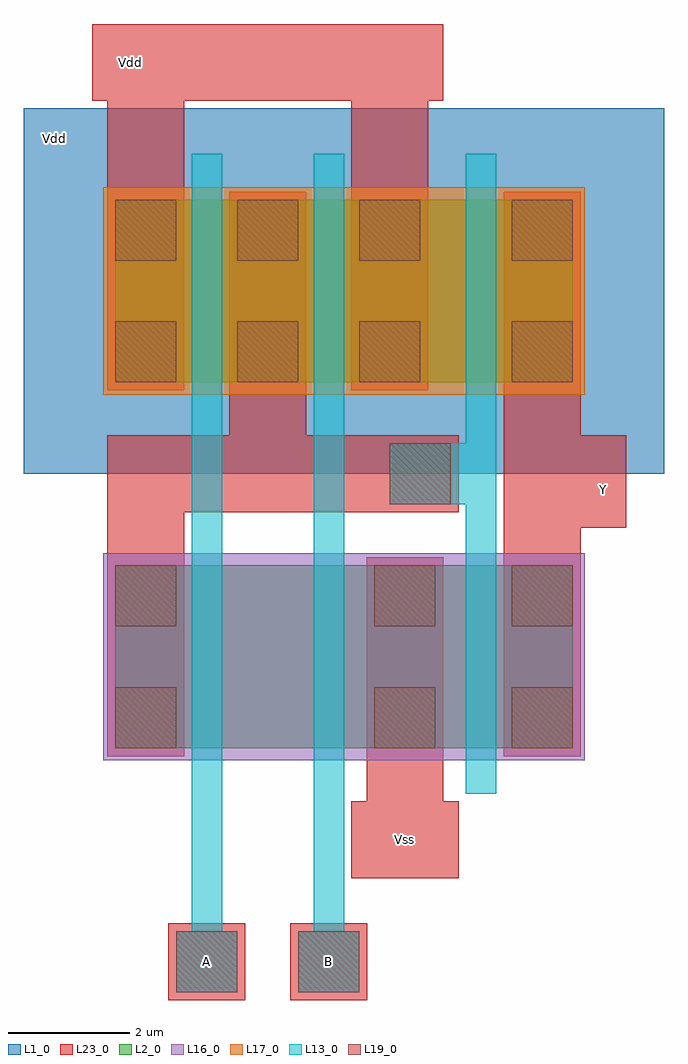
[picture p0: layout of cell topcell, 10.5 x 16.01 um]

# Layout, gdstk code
import gdstk
lib = gdstk.Library(unit=1e-6, precision=1e-09)
def R(c, l, rs):  # rectangles x0, y0, x1, y1
    for r in rs: c.add(gdstk.rectangle(r[:2], r[2:], *l))
def A(c, l, x, y, w, h, nx, ny, dx, dy):  # array of equal rectangles
    R(c, l, [(x+i*dx, y+j*dy, x+i*dx+w, y+j*dy+h) for i in range(nx) for j in range(ny)])
L1_0 = (1, 0)
L2_0 = (2, 0)
L13_0 = (13, 0)
L16_0 = (16, 0)
L17_0 = (17, 0)
L19_0 = (19, 0)
L23_0 = (23, 0)

topcell = lib.new_cell('topcell')
R(topcell, L1_0, [(-198,321.75,-187.5,327.75)])
R(topcell, L2_0, [(-196.5,317.25,-195.25,320.25), (-195.25,317.25,-194.75,320.25), (-194.75,317.25,-193.25,320.25), (-193.25,317.25,-192.75,320.25), (-192.75,317.25,-190.75,320.25), (-190.75,317.25,-190.25,320.25), (-190.25,317.25,-189,320.25), (-196.5,323.25,-195.25,326.25), (-195.25,323.25,-194.75,326.25), (-194.75,323.25,-193.25,326.25), (-193.25,323.25,-192.75,326.25), (-192.75,323.25,-190.75,326.25), (-190.75,323.25,-190.25,326.25), (-190.25,323.25,-189,326.25)])
R(topcell, L13_0, [(-195.5,313.25,-194.5,314.25), (-193.5,313.25,-192.5,314.25), (-195.25,314.25,-194.75,327), (-193.25,314.25,-192.75,327), (-190.75,316.5,-190.25,327), (-192,321.25,-190.75,322.25)])
R(topcell, L16_0, [(-196.7,317.05,-195.05,320.45), (-195.45,317.05,-194.55,320.45), (-194.95,317.05,-193.05,320.45), (-193.45,317.05,-192.55,320.45), (-192.95,317.05,-190.55,320.45), (-190.95,317.05,-190.05,320.45), (-190.45,317.05,-188.8,320.45)])
R(topcell, L17_0, [(-196.7,323.05,-195.05,326.45), (-195.45,323.05,-194.55,326.45), (-194.95,323.05,-193.05,326.45), (-193.45,323.05,-192.55,326.45), (-192.95,323.05,-190.55,326.45), (-190.95,323.05,-190.05,326.45), (-190.45,323.05,-188.8,326.45)])
A(topcell, L19_0, -196.5, 323.25, 1, 1, 3, 2, 2, 2)
R(topcell, L19_0, [(-195.5,313.25,-194.5,314.25), (-193.5,313.25,-192.5,314.25), (-196.5,317.25,-195.5,318.25), (-192.25,317.25,-191.25,318.25), (-190,317.25,-189,318.25), (-196.5,319.25,-195.5,320.25), (-192.25,319.25,-191.25,320.25), (-190,319.25,-189,320.25), (-192,321.25,-191,322.25), (-190,323.25,-189,324.25), (-190,325.25,-189,326.25)])
R(topcell, L23_0, [(-195.63,313.12,-194.37,314.38), (-193.63,313.12,-192.37,314.38), (-192.63,315.12,-190.87,316.38), (-192.38,316.12,-191.12,320.38), (-196.63,317.12,-195.37,321.38), (-190.13,317.12,-188.87,326.38), (-189.13,320.87,-188.12,322.38), (-196.63,321.12,-190.87,322.38), (-194.63,322.12,-193.37,326.38), (-196.63,323.12,-195.37,328.13), (-192.63,323.12,-191.37,328.13), (-196.88,327.87,-191.12,329.13)])
topcell.add(gdstk.Label('A', (-195,313.75), layer=17, texttype=0))
topcell.add(gdstk.Label('B', (-193,313.75), layer=17, texttype=0))
topcell.add(gdstk.Label('Y', (-188.5,321.5), layer=17, texttype=0))
topcell.add(gdstk.Label('Vdd', (-197.5,327.25), layer=17, texttype=0))
topcell.add(gdstk.Label('Vdd', (-196.25,328.5), layer=17, texttype=0))
topcell.add(gdstk.Label('Vss', (-191.75,315.75), layer=17, texttype=0))

lib.write_gds('topcell.gds')
